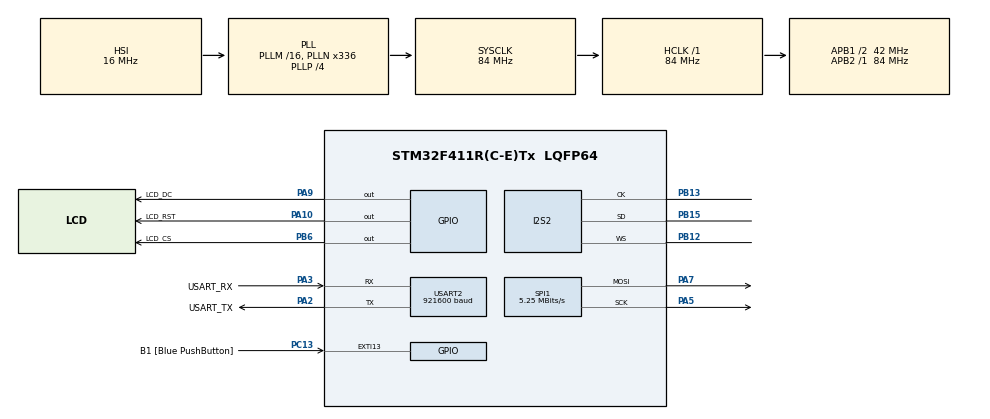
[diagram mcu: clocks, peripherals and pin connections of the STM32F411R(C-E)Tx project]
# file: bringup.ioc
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Dma.Request0=SPI2_RX
Dma.SPI2_RX.0.Direction=DMA_PERIPH_TO_MEMORY
Dma.SPI2_RX.0.FIFOMode=DMA_FIFOMODE_DISABLE
Dma.SPI2_RX.0.Instance=DMA1_Stream3
Dma.SPI2_RX.0.MemDataAlignment=DMA_MDATAALIGN_HALFWORD
Dma.SPI2_RX.0.MemInc=DMA_MINC_ENABLE
Dma.SPI2_RX.0.Mode=DMA_CIRCULAR
Dma.SPI2_RX.0.PeriphDataAlignment=DMA_PDATAALIGN_HALFWORD
Dma.SPI2_RX.0.PeriphInc=DMA_PINC_DISABLE
Dma.SPI2_RX.0.Priority=DMA_PRIORITY_HIGH
I2S2.AudioFreq=I2S_AUDIOFREQ_16K
I2S2.DataFormat=I2S_DATAFORMAT_24B
I2S2.ErrorAudioFreq=-0.26 %
I2S2.FullDuplexMode=I2S_FULLDUPLEXMODE_DISABLE
I2S2.Instance=SPI$Index
I2S2.Mode=I2S_MODE_MASTER_RX
I2S2.RealAudioFreq=15.957 KHz
I2S2.VirtualMode=I2S_MODE_MASTER
Mcu.Family=STM32F4
Mcu.Name=STM32F411R(C-E)Tx
Mcu.Package=LQFP64
NVIC.DMA1_Stream3_IRQn=true\:0\:0\:false\:false\:true\:false\:true\:true
NVIC.PriorityGroup=NVIC_PRIORITYGROUP_0
PA10.GPIO_Label=LCD_RST
PA10.GPIO_Speed=GPIO_SPEED_FREQ_HIGH
PA10.PinState=GPIO_PIN_SET
PA10.Signal=GPIO_Output
PA13.GPIO_Label=TMS
PA13.Mode=Serial_Wire
PA13.Signal=SYS_JTMS-SWDIO
PA14.GPIO_Label=TCK
PA14.Mode=Serial_Wire
PA14.Signal=SYS_JTCK-SWCLK
PA2.GPIO_Label=USART_TX
PA2.Mode=Asynchronous
PA2.Signal=USART2_TX
PA3.GPIO_Label=USART_RX
PA3.Mode=Asynchronous
PA3.Signal=USART2_RX
PA5.Mode=TX_Only_Simplex_Unidirect_Master
PA5.Signal=SPI1_SCK
PA7.Mode=TX_Only_Simplex_Unidirect_Master
PA7.Signal=SPI1_MOSI
PA9.GPIO_Label=LCD_DC
PA9.GPIO_Speed=GPIO_SPEED_FREQ_HIGH
PA9.PinState=GPIO_PIN_SET
PA9.Signal=GPIO_Output
PB12.Mode=Half_Duplex_Master
PB12.Signal=I2S2_WS
PB13.Mode=Half_Duplex_Master
PB13.Signal=I2S2_CK
PB15.Mode=Half_Duplex_Master
PB15.Signal=I2S2_SD
PB3.GPIO_Label=SWO
PB3.Signal=SYS_JTDO-SWO
PB6.GPIO_Label=LCD_CS
PB6.GPIO_Speed=GPIO_SPEED_FREQ_HIGH
PB6.PinState=GPIO_PIN_SET
PB6.Signal=GPIO_Output
PC13-ANTI_TAMP.GPIO_Label=B1 [Blue PushButton]
PC13-ANTI_TAMP.GPIO_ModeDefaultEXTI=GPIO_MODE_IT_FALLING
PC13-ANTI_TAMP.Signal=GPXTI13
PC14-OSC32_IN.Mode=LSE-External-Oscillator
PC14-OSC32_IN.Signal=RCC_OSC32_IN
PC15-OSC32_OUT.Mode=LSE-External-Oscillator
PC15-OSC32_OUT.Signal=RCC_OSC32_OUT
PH0\ -\ OSC_IN.Mode=HSE-External-Clock-Source
PH0\ -\ OSC_IN.Signal=RCC_OSC_IN
PH1\ -\ OSC_OUT.Mode=HSE-External-Clock-Source
PH1\ -\ OSC_OUT.Signal=RCC_OSC_OUT
ProjectManager.HeapSize=0x200
ProjectManager.StackSize=0x400
ProjectManager.TargetToolchain=STM32CubeIDE
RCC.48MHZClocksFreq_Value=84000000
RCC.AHBFreq_Value=84000000
RCC.APB1CLKDivider=RCC_HCLK_DIV2
RCC.APB1Freq_Value=42000000
RCC.APB1TimFreq_Value=84000000
RCC.APB2Freq_Value=84000000
RCC.APB2TimFreq_Value=84000000
RCC.CortexFreq_Value=84000000
RCC.FLatency-AdvancedSettings=FLASH_LATENCY_2
RCC.HCLKFreq_Value=84000000
RCC.HSE_VALUE=8000000
RCC.HSI_VALUE=16000000
RCC.PLLN=336
RCC.PLLP=RCC_PLLP_DIV4
RCC.SYSCLKFreq_VALUE=84000000
RCC.SYSCLKSource=RCC_SYSCLKSOURCE_PLLCLK
RCC.VCOOutputFreq_Value=336000000
SPI1.BaudRatePrescaler=SPI_BAUDRATEPRESCALER_16
SPI1.CLKPhase=SPI_PHASE_2EDGE
SPI1.CLKPolarity=SPI_POLARITY_HIGH
SPI1.CalculateBaudRate=5.25 MBits/s
SPI1.Direction=SPI_DIRECTION_2LINES
SPI1.Mode=SPI_MODE_MASTER
SPI1.VirtualType=VM_MASTER
USART2.BaudRate=921600
USART2.VirtualMode=VM_ASYNC
board=NUCLEO-F411RE

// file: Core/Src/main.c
/* USER CODE BEGIN Header */
/**
  ******************************************************************************
  * @file           : main.c
  * @brief          : Main program body
  ******************************************************************************
  * @attention
  *
  * Copyright (c) 2026 STMicroelectronics.
  * All rights reserved.
  *
  * This software is licensed under terms that can be found in the LICENSE file
  * in the root directory of this software component.
  * If no LICENSE file comes with this software, it is provided AS-IS.
  *
  ******************************************************************************
  */
/* USER CODE END Header */
#include "main.h"

/* USER CODE BEGIN Includes */
#include <stdio.h>
#include <string.h>
#include <math.h>
#include <stdint.h>
/* USER CODE END Includes */

I2S_HandleTypeDef hi2s2;
DMA_HandleTypeDef hdma_spi2_rx;

SPI_HandleTypeDef hspi1;

UART_HandleTypeDef huart2;

/* USER CODE BEGIN PV */
#define LCD_W 240
#define LCD_H 320

#define LCD_CS_L()    HAL_GPIO_WritePin(LCD_CS_GPIO_Port,  LCD_CS_Pin,  GPIO_PIN_RESET)
#define LCD_CS_H()    HAL_GPIO_WritePin(LCD_CS_GPIO_Port,  LCD_CS_Pin,  GPIO_PIN_SET)
#define LCD_DC_CMD()  HAL_GPIO_WritePin(LCD_DC_GPIO_Port,  LCD_DC_Pin,  GPIO_PIN_RESET)
#define LCD_DC_DATA() HAL_GPIO_WritePin(LCD_DC_GPIO_Port,  LCD_DC_Pin,  GPIO_PIN_SET)
#define LCD_RST_L()   HAL_GPIO_WritePin(LCD_RST_GPIO_Port, LCD_RST_Pin, GPIO_PIN_RESET)
#define LCD_RST_H()   HAL_GPIO_WritePin(LCD_RST_GPIO_Port, LCD_RST_Pin, GPIO_PIN_SET)

// ---- I2S mic capture (circular DMA) + UART streaming ----
#define I2S_FRAMES      1024                     // 1024 stereo frames = 64 ms @ 16kHz
#define I2S_HALFWORDS   (I2S_FRAMES * 4)         // 4 halfwords per L+R frame
#define HALF_FRAMES     (I2S_FRAMES / 2)         // 512 frames per DMA half
static uint16_t i2s_buf[I2S_HALFWORDS];
static int16_t  tx_buf[HALF_FRAMES];             // mono L samples to stream over UART
static volatile uint8_t i2s_half_ready = 0;     // bit0 = first half, bit1 = second half
/* USER CODE END PV */

void SystemClock_Config(void);
static void MX_GPIO_Init(void);
static void MX_DMA_Init(void);
static void MX_USART2_UART_Init(void);
static void MX_SPI1_Init(void);
static void MX_I2S2_Init(void);

/* USER CODE BEGIN 0 */
extern SPI_HandleTypeDef hspi1;

static void lcd_cmd(uint8_t c) {
  LCD_DC_CMD(); LCD_CS_L();
  HAL_SPI_Transmit(&hspi1, &c, 1, HAL_MAX_DELAY);
  LCD_CS_H();
}

static void lcd_dat(const uint8_t *d, uint16_t n) {
  LCD_DC_DATA(); LCD_CS_L();
  HAL_SPI_Transmit(&hspi1, (uint8_t*)d, n, HAL_MAX_DELAY);
  LCD_CS_H();
}

static void lcd_dat1(uint8_t b) { lcd_dat(&b, 1); }

static void lcd_init(void) {
  // Hardware reset pulse (longer to be safe with clone modules)
  LCD_RST_H(); HAL_Delay(10);
  LCD_RST_L(); HAL_Delay(50);
  LCD_RST_H(); HAL_Delay(200);

  lcd_cmd(0x01); HAL_Delay(150);                 // SW reset
  lcd_cmd(0x11); HAL_Delay(150);                 // Sleep out

  lcd_cmd(0x3A); lcd_dat1(0x55);                 // COLMOD: 16-bit RGB565
  lcd_cmd(0x36); lcd_dat1(0x00);                 // MADCTL: portrait, RGB

  // Porch control
  {
    uint8_t d[5] = {0x0C, 0x0C, 0x00, 0x33, 0x33};
    lcd_cmd(0xB2); lcd_dat(d, 5);
  }
  // Gate control
  lcd_cmd(0xB7); lcd_dat1(0x35);
  // VCOM setting
  lcd_cmd(0xBB); lcd_dat1(0x19);
  // LCM control
  lcd_cmd(0xC0); lcd_dat1(0x2C);
  // VDV & VRH command enable
  lcd_cmd(0xC2); lcd_dat1(0x01);
  // VRH set
  lcd_cmd(0xC3); lcd_dat1(0x12);
  // VDV set
  lcd_cmd(0xC4); lcd_dat1(0x20);
  // Frame rate (60Hz normal mode)
  lcd_cmd(0xC6); lcd_dat1(0x0F);
  // Power control 1
  {
    uint8_t d[2] = {0xA4, 0xA1};
    lcd_cmd(0xD0); lcd_dat(d, 2);
  }
  // Positive voltage gamma
  {
    uint8_t d[14] = {0xD0, 0x04, 0x0D, 0x11, 0x13, 0x2B, 0x3F, 0x54,
                     0x4C, 0x18, 0x0D, 0x0B, 0x1F, 0x23};
    lcd_cmd(0xE0); lcd_dat(d, 14);
  }
  // Negative voltage gamma
  {
    uint8_t d[14] = {0xD0, 0x04, 0x0C, 0x11, 0x13, 0x2C, 0x3F, 0x44,
                     0x51, 0x2F, 0x1F, 0x1F, 0x20, 0x23};
    lcd_cmd(0xE1); lcd_dat(d, 14);
  }

  lcd_cmd(0x21);                                 // Display inversion ON
  lcd_cmd(0x13);                                 // Normal display mode
  lcd_cmd(0x29); HAL_Delay(120);                 // Display ON
}

static void lcd_set_window(uint16_t x0, uint16_t y0, uint16_t x1, uint16_t y1) {
  uint8_t d[4];
  lcd_cmd(0x2A);
  d[0] = x0 >> 8; d[1] = x0 & 0xFF; d[2] = x1 >> 8; d[3] = x1 & 0xFF;
  lcd_dat(d, 4);
  lcd_cmd(0x2B);
  d[0] = y0 >> 8; d[1] = y0 & 0xFF; d[2] = y1 >> 8; d[3] = y1 & 0xFF;
  lcd_dat(d, 4);
  lcd_cmd(0x2C);                                 // RAM write
}

static void lcd_fill(uint16_t color) {
  lcd_set_window(0, 0, LCD_W - 1, LCD_H - 1);
  uint8_t buf[128];                              // 64 pixels per chunk
  for (int i = 0; i < 64; i++) {
    buf[i*2]     = color >> 8;
    buf[i*2 + 1] = color & 0xFF;
  }
  LCD_DC_DATA(); LCD_CS_L();
  uint32_t left = (uint32_t)LCD_W * LCD_H;
  while (left) {
    uint32_t chunk = (left > 64) ? 64 : left;
    HAL_SPI_Transmit(&hspi1, buf, chunk * 2, HAL_MAX_DELAY);
    left -= chunk;
  }
  LCD_CS_H();
}

/* ---- I2S mic capture (circular DMA) + raw PCM stream over UART ---- */
extern I2S_HandleTypeDef hi2s2;

void HAL_I2S_RxHalfCpltCallback(I2S_HandleTypeDef *hi2s) {
  if (hi2s->Instance == SPI2) {
    i2s_half_ready |= 0x01;
  }
}

void HAL_I2S_RxCpltCallback(I2S_HandleTypeDef *hi2s) {
  if (hi2s->Instance == SPI2) {
    i2s_half_ready |= 0x02;
  }
}

// Pack the left-channel 16-bit samples from a half of the buffer into tx_buf,
// then send as raw little-endian bytes (matches WAV mono 16-bit format).
// half_idx: 0 = first half (frames 0..511), 1 = second half (frames 512..1023)
static void stream_half(int half_idx) {
  int start_frame = half_idx * HALF_FRAMES;
  for (int i = 0; i < HALF_FRAMES; i++) {
    tx_buf[i] = (int16_t)i2s_buf[(start_frame + i) * 4 + 0];
  }
  HAL_UART_Transmit(&huart2, (uint8_t*)tx_buf, sizeof(tx_buf), HAL_MAX_DELAY);
}
/* USER CODE END 0 */

int main(void)
{

  /* MCU Configuration--------------------------------------------------------*/

  /* Reset of all peripherals, Initializes the Flash interface and the Systick. */
  HAL_Init();

  /* Configure the system clock */
  SystemClock_Config();

  /* Initialize all configured peripherals */
  MX_GPIO_Init();
  MX_DMA_Init();
  MX_USART2_UART_Init();
  MX_SPI1_Init();
  MX_I2S2_Init();
  /* USER CODE BEGIN 2 */
  // Path 2 capture firmware: pure raw 16-bit mono PCM over USART2 (ST-Link VCP).
  // No text greeting — any text bytes would corrupt the WAV file on the host.
  // Brief settling delay before kicking off I2S so the mic and our DMA start clean.
  HAL_Delay(100);
  HAL_I2S_Receive_DMA(&hi2s2, i2s_buf, I2S_FRAMES * 2);
  /* USER CODE END 2 */

  /* Infinite loop */
  while (1)
  {

    /* USER CODE BEGIN 3 */
    // Atomically read & clear the ready flags
    __disable_irq();
    uint8_t ready = i2s_half_ready;
    i2s_half_ready = 0;
    __enable_irq();

    if (ready & 0x01) stream_half(0);
    if (ready & 0x02) stream_half(1);
  }
  /* USER CODE END 3 */
}

void SystemClock_Config(void)
{
  RCC_OscInitTypeDef RCC_OscInitStruct = {0};
  RCC_ClkInitTypeDef RCC_ClkInitStruct = {0};

  /** Configure the main internal regulator output voltage
  */
  __HAL_RCC_PWR_CLK_ENABLE();
  __HAL_PWR_VOLTAGESCALING_CONFIG(PWR_REGULATOR_VOLTAGE_SCALE1);

  /** Initializes the RCC Oscillators according to the specified parameters
  * in the RCC_OscInitTypeDef structure.
  */
  RCC_OscInitStruct.OscillatorType = RCC_OSCILLATORTYPE_HSI;
  RCC_OscInitStruct.HSIState = RCC_HSI_ON;
  RCC_OscInitStruct.HSICalibrationValue = RCC_HSICALIBRATION_DEFAULT;
  RCC_OscInitStruct.PLL.PLLState = RCC_PLL_ON;
  RCC_OscInitStruct.PLL.PLLSource = RCC_PLLSOURCE_HSI;
  RCC_OscInitStruct.PLL.PLLM = 16;
  RCC_OscInitStruct.PLL.PLLN = 336;
  RCC_OscInitStruct.PLL.PLLP = RCC_PLLP_DIV4;
  RCC_OscInitStruct.PLL.PLLQ = 4;
  if (HAL_RCC_OscConfig(&RCC_OscInitStruct) != HAL_OK)
  {
    Error_Handler();
  }

  /** Initializes the CPU, AHB and APB buses clocks
  */
  RCC_ClkInitStruct.ClockType = RCC_CLOCKTYPE_HCLK|RCC_CLOCKTYPE_SYSCLK
                              |RCC_CLOCKTYPE_PCLK1|RCC_CLOCKTYPE_PCLK2;
  RCC_ClkInitStruct.SYSCLKSource = RCC_SYSCLKSOURCE_PLLCLK;
  RCC_ClkInitStruct.AHBCLKDivider = RCC_SYSCLK_DIV1;
  RCC_ClkInitStruct.APB1CLKDivider = RCC_HCLK_DIV2;
  RCC_ClkInitStruct.APB2CLKDivider = RCC_HCLK_DIV1;

  if (HAL_RCC_ClockConfig(&RCC_ClkInitStruct, FLASH_LATENCY_2) != HAL_OK)
  {
    Error_Handler();
  }
}

static void MX_I2S2_Init(void)
{

  hi2s2.Instance = SPI2;
  hi2s2.Init.Mode = I2S_MODE_MASTER_RX;
  hi2s2.Init.Standard = I2S_STANDARD_PHILIPS;
  hi2s2.Init.DataFormat = I2S_DATAFORMAT_24B;
  hi2s2.Init.MCLKOutput = I2S_MCLKOUTPUT_DISABLE;
  hi2s2.Init.AudioFreq = I2S_AUDIOFREQ_16K;
  hi2s2.Init.CPOL = I2S_CPOL_LOW;
  hi2s2.Init.ClockSource = I2S_CLOCK_PLL;
  hi2s2.Init.FullDuplexMode = I2S_FULLDUPLEXMODE_DISABLE;
  if (HAL_I2S_Init(&hi2s2) != HAL_OK)
  {
    Error_Handler();
  }

}

static void MX_SPI1_Init(void)
{

  /* SPI1 parameter configuration*/
  hspi1.Instance = SPI1;
  hspi1.Init.Mode = SPI_MODE_MASTER;
  hspi1.Init.Direction = SPI_DIRECTION_2LINES;
  hspi1.Init.DataSize = SPI_DATASIZE_8BIT;
  hspi1.Init.CLKPolarity = SPI_POLARITY_HIGH;
  hspi1.Init.CLKPhase = SPI_PHASE_2EDGE;
  hspi1.Init.NSS = SPI_NSS_SOFT;
  hspi1.Init.BaudRatePrescaler = SPI_BAUDRATEPRESCALER_16;
  hspi1.Init.FirstBit = SPI_FIRSTBIT_MSB;
  hspi1.Init.TIMode = SPI_TIMODE_DISABLE;
  hspi1.Init.CRCCalculation = SPI_CRCCALCULATION_DISABLE;
  hspi1.Init.CRCPolynomial = 10;
  if (HAL_SPI_Init(&hspi1) != HAL_OK)
  {
    Error_Handler();
  }

}

static void MX_USART2_UART_Init(void)
{

  huart2.Instance = USART2;
  huart2.Init.BaudRate = 921600;
  huart2.Init.WordLength = UART_WORDLENGTH_8B;
  huart2.Init.StopBits = UART_STOPBITS_1;
  huart2.Init.Parity = UART_PARITY_NONE;
  huart2.Init.Mode = UART_MODE_TX_RX;
  huart2.Init.HwFlowCtl = UART_HWCONTROL_NONE;
  huart2.Init.OverSampling = UART_OVERSAMPLING_16;
  if (HAL_UART_Init(&huart2) != HAL_OK)
  {
    Error_Handler();
  }

}

static void MX_DMA_Init(void)
{

  /* DMA controller clock enable */
  __HAL_RCC_DMA1_CLK_ENABLE();

  /* DMA interrupt init */
  /* DMA1_Stream3_IRQn interrupt configuration */
  HAL_NVIC_SetPriority(DMA1_Stream3_IRQn, 0, 0);
  HAL_NVIC_EnableIRQ(DMA1_Stream3_IRQn);

}

static void MX_GPIO_Init(void)
{
  GPIO_InitTypeDef GPIO_InitStruct = {0};

  /* GPIO Ports Clock Enable */
  __HAL_RCC_GPIOC_CLK_ENABLE();
  __HAL_RCC_GPIOH_CLK_ENABLE();
  __HAL_RCC_GPIOA_CLK_ENABLE();
  __HAL_RCC_GPIOB_CLK_ENABLE();

  /*Configure GPIO pin Output Level */
  HAL_GPIO_WritePin(GPIOA, LCD_DC_Pin|LCD_RST_Pin, GPIO_PIN_SET);

  /*Configure GPIO pin Output Level */
  HAL_GPIO_WritePin(LCD_CS_GPIO_Port, LCD_CS_Pin, GPIO_PIN_SET);

  /*Configure GPIO pin : B1_Pin */
  GPIO_InitStruct.Pin = B1_Pin;
  GPIO_InitStruct.Mode = GPIO_MODE_IT_FALLING;
  GPIO_InitStruct.Pull = GPIO_NOPULL;
  HAL_GPIO_Init(B1_GPIO_Port, &GPIO_InitStruct);

  /*Configure GPIO pins : LCD_DC_Pin LCD_RST_Pin */
  GPIO_InitStruct.Pin = LCD_DC_Pin|LCD_RST_Pin;
  GPIO_InitStruct.Mode = GPIO_MODE_OUTPUT_PP;
  GPIO_InitStruct.Pull = GPIO_NOPULL;
  GPIO_InitStruct.Speed = GPIO_SPEED_FREQ_HIGH;
  HAL_GPIO_Init(GPIOA, &GPIO_InitStruct);

  /*Configure GPIO pin : LCD_CS_Pin */
  GPIO_InitStruct.Pin = LCD_CS_Pin;
  GPIO_InitStruct.Mode = GPIO_MODE_OUTPUT_PP;
  GPIO_InitStruct.Pull = GPIO_NOPULL;
  GPIO_InitStruct.Speed = GPIO_SPEED_FREQ_HIGH;
  HAL_GPIO_Init(LCD_CS_GPIO_Port, &GPIO_InitStruct);

}

void Error_Handler(void)
{
  __disable_irq();
  while (1)
  {
  }
}
